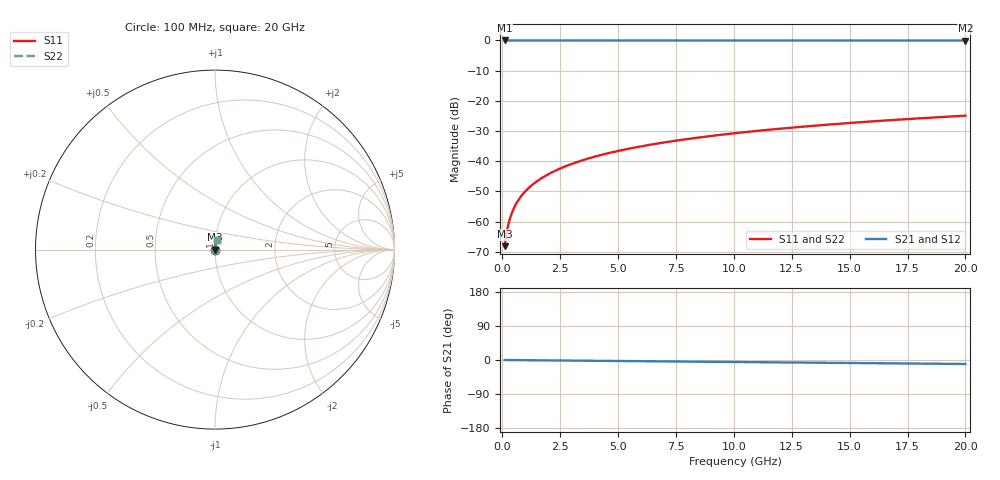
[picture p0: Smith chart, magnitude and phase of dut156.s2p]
! Touchstone file exported from HFSS 2026.1.0
!  File:  C:/ffzhzh/LocalFiles/Ansys_Project_Files/temp_train_TSV_156_1782990731_42984.aedt
!  Generated:  07:13:42 PM Jul  2, 2026
!  Design:  TSV
!  Project:  temp_train_TSV_156_1782990731_42984
! Variables:
!  h_bsmrdl = 2um
!  h_ox = 20um
!  h_rdl = 5um
!  h_sub = 99.74um
!  h_tmrdl = 5um
!  h_tsv = 99.74um
!  h_via = 3um
!  l_bsmrdl = 300um
!  l_sub = 416.5um
!  l_tmrdl = 200um
!  m_sub = 200um
!  pitch = 51.12um
!  r_tsv = 8.25um
!  s_tmrdl = 10um
!  w_bsmrdl = 18um
!  w_sub = 500um
!  w_tmrdl = 12um
!  x_tsv_center1 = 206um
!  x_tsv_center2 = 524um
!  x_tsv_center3 = 736um
!  x_tsv_center4 = 1054um
!  x_tsv_center5 = 1266um
!  x_tsv_center6 = 1584um
# GHz S MA R 50.000000
! Terminal data exported
! Port[1] = TSV1_1_T1
! Port[2] = TSV1_1_T2
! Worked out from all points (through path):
!   200 points, 100 MHz to 20 GHz, reference 50 ohm
!   highest |S21| = 0.00 dB at 100 MHz (marker M1); lowest = 0.0 dB at 20 GHz (marker M2)
!   group delay of S21, straight-line fit = 1.46 ps
!   lowest |S11| = -68.1 dB at 100 MHz (marker M3), VSWR 1.00, Z = 50 + j0.0335 ohm
!   |S11| at or under -10 dB: start of sweep to end of sweep
!   |S22| runs from -68.1 to -24.9 dB; largest |S21 - S12| = 5.4e-15
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0.1  0.0003914 58.9  0.9998 -0.1  0.9998 -0.1  0.0003914 58.9
! Gamma 0 0 0 0
! Port Impedance 50 0 50 0
0.2  0.0007015 72.2  0.9998 -0.1  0.9998 -0.1  0.0007015 72.2
0.3  0.001024 76.8  0.9998 -0.2  0.9998 -0.2  0.001024 76.8
0.4  0.001345 78.9  0.9997 -0.2  0.9997 -0.2  0.001345 78.9
0.5  0.001663 80.1  0.9997 -0.3  0.9997 -0.3  0.001663 80.1
0.6  0.001976 80.8  0.9997 -0.3  0.9997 -0.3  0.001976 80.8
0.7  0.002285 81.3  0.9997 -0.4  0.9997 -0.4  0.002285 81.3
0.8  0.002589 81.7  0.9996 -0.4  0.9996 -0.4  0.002589 81.7
1  0.003189 82.2  0.9996 -0.5  0.9996 -0.5  0.003189 82.2
1.4  0.004367 82.9  0.9995 -0.8  0.9995 -0.8  0.004367 82.9
1.7  0.005243 83.3  0.9995 -0.9  0.9995 -0.9  0.005243 83.3
2  0.006115 83.6  0.9994 -1.1  0.9994 -1.1  0.006115 83.6
2.7  0.008148 84.0  0.9993 -1.4  0.9993 -1.4  0.008148 84.0
3.5  0.01046 84.2  0.9992 -1.9  0.9992 -1.9  0.01046 84.2
4.2  0.01248 84.1  0.9991 -2.2  0.9991 -2.2  0.01248 84.1
5  0.01478 84.0  0.999 -2.7  0.999 -2.7  0.01478 84.0
6.8  0.01991 83.5  0.9988 -3.6  0.9988 -3.6  0.01991 83.5
8.3  0.02416 83.0  0.9986 -4.4  0.9986 -4.4  0.02416 83.0
10.1  0.02924 82.3  0.9983 -5.3  0.9983 -5.3  0.02924 82.3
13.4  0.03849 80.8  0.9979 -7.1  0.9979 -7.1  0.03849 80.8
16.7  0.04766 79.3  0.9973 -8.8  0.9973 -8.8  0.04766 79.3
20  0.05673 77.8  0.9967 -10.5  0.9967 -10.5  0.05673 77.8
